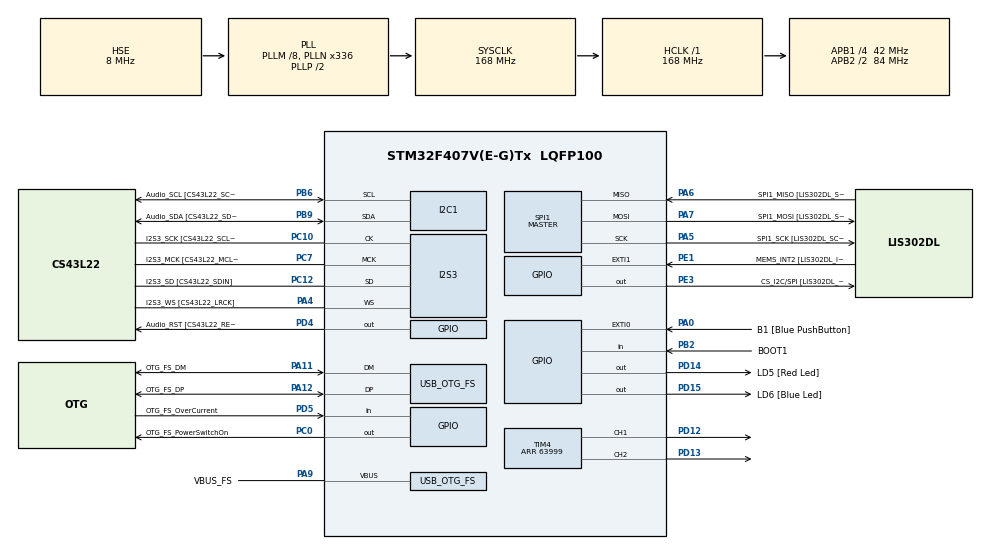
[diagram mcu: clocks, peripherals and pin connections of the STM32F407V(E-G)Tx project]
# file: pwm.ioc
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I2S3.AudioFreq-Half_Duplex_Master=I2S_AUDIOFREQ_96K
I2S3.ErrorAudioFreq=-2.34 %
I2S3.ErrorAudioFreq-Half_Duplex_Master=0.8 %
I2S3.FullDuplexMode=I2S_FULLDUPLEXMODE_DISABLE
I2S3.Instance=SPI$Index
I2S3.RealAudioFreq=93.75 KHz
I2S3.RealAudioFreq-Half_Duplex_Master=96.774 KHz
I2S3.VirtualMode=I2S_MODE_MASTER
Mcu.Family=STM32F4
Mcu.Name=STM32F407V(E-G)Tx
Mcu.Package=LQFP100
NVIC.OTG_FS_IRQn=true\:0\:0\:false\:false\:true\:true\:true\:true
NVIC.PriorityGroup=NVIC_PRIORITYGROUP_0
PA0-WKUP.GPIO_Label=B1 [Blue PushButton]
PA0-WKUP.GPIO_ModeDefaultEXTI=GPIO_MODE_EVT_RISING
PA0-WKUP.GPIO_PuPd=GPIO_NOPULL
PA0-WKUP.Signal=GPXTI0
PA10.GPIO_Label=OTG_FS_ID
PA10.GPIO_Mode=GPIO_MODE_AF_PP
PA10.GPIO_PuPd=GPIO_NOPULL
PA10.GPIO_Speed=GPIO_SPEED_FREQ_LOW
PA10.Signal=USB_OTG_FS_ID
PA11.GPIO_Label=OTG_FS_DM
PA11.GPIO_Mode=GPIO_MODE_AF_PP
PA11.GPIO_PuPd=GPIO_NOPULL
PA11.GPIO_Speed=GPIO_SPEED_FREQ_LOW
PA11.Mode=Host_Only
PA11.Signal=USB_OTG_FS_DM
PA12.GPIO_Label=OTG_FS_DP
PA12.GPIO_Mode=GPIO_MODE_AF_PP
PA12.GPIO_PuPd=GPIO_NOPULL
PA12.GPIO_Speed=GPIO_SPEED_FREQ_LOW
PA12.Mode=Host_Only
PA12.Signal=USB_OTG_FS_DP
PA13.GPIO_Label=SWDIO
PA13.Mode=Serial_Wire
PA13.Signal=SYS_JTMS-SWDIO
PA14.GPIO_Label=SWCLK
PA14.Mode=Serial_Wire
PA14.Signal=SYS_JTCK-SWCLK
PA4.GPIO_Label=I2S3_WS [CS43L22_LRCK]
PA4.GPIO_Mode=GPIO_MODE_AF_PP
PA4.GPIO_PuPd=GPIO_NOPULL
PA4.GPIO_Speed=GPIO_SPEED_FREQ_LOW
PA4.Mode=Half_Duplex_Master
PA4.Signal=I2S3_WS
PA5.GPIO_Label=SPI1_SCK [LIS302DL_SCL/SPC]
PA5.GPIO_Mode=GPIO_MODE_AF_PP
PA5.GPIO_PuPd=GPIO_NOPULL
PA5.GPIO_Speed=GPIO_SPEED_FREQ_LOW
PA5.Mode=Full_Duplex_Master
PA5.Signal=SPI1_SCK
PA6.GPIO_Label=SPI1_MISO [LIS302DL_SDO]
PA6.GPIO_Mode=GPIO_MODE_AF_PP
PA6.GPIO_PuPd=GPIO_NOPULL
PA6.GPIO_Speed=GPIO_SPEED_FREQ_LOW
PA6.Mode=Full_Duplex_Master
PA6.Signal=SPI1_MISO
PA7.GPIO_Label=SPI1_MOSI [LIS302DL_SDA/SDI/SDO]
PA7.GPIO_Mode=GPIO_MODE_AF_PP
PA7.GPIO_PuPd=GPIO_NOPULL
PA7.GPIO_Speed=GPIO_SPEED_FREQ_LOW
PA7.Mode=Full_Duplex_Master
PA7.Signal=SPI1_MOSI
PA9.GPIO_Label=VBUS_FS
PA9.GPIO_Mode=GPIO_MODE_INPUT
PA9.GPIO_PuPd=GPIO_NOPULL
PA9.Mode=Activate_VBUS
PA9.Signal=USB_OTG_FS_VBUS
PB10.GPIO_Label=CLK_IN [MP45DT02_CLK]
PB10.GPIO_Mode=GPIO_MODE_AF_PP
PB10.GPIO_PuPd=GPIO_NOPULL
PB10.GPIO_Speed=GPIO_SPEED_FREQ_LOW
PB10.Signal=I2S2_CK
PB2.GPIO_Label=BOOT1
PB2.GPIO_Mode=GPIO_MODE_INPUT
PB2.GPIO_PuPd=GPIO_NOPULL
PB2.Signal=GPIO_Input
PB3.GPIO_Label=SWO
PB3.Signal=SYS_JTDO-SWO
PB6.GPIO_Label=Audio_SCL [CS43L22_SCL]
PB6.GPIO_Mode=GPIO_MODE_AF_OD
PB6.GPIO_Pu=GPIO_PULLUP
PB6.GPIO_PuPd=GPIO_NOPULL
PB6.GPIO_Speed=GPIO_SPEED_FREQ_LOW
PB6.Mode=I2C
PB6.Signal=I2C1_SCL
PB9.GPIO_Label=Audio_SDA [CS43L22_SDA]
PB9.GPIO_Mode=GPIO_MODE_AF_OD
PB9.GPIO_Pu=GPIO_PULLUP
PB9.GPIO_PuPd=GPIO_NOPULL
PB9.GPIO_Speed=GPIO_SPEED_FREQ_LOW
PB9.Mode=I2C
PB9.Signal=I2C1_SDA
PC0.GPIO_Label=OTG_FS_PowerSwitchOn
PC0.GPIO_PuPd=GPIO_NOPULL
PC0.GPIO_Speed=GPIO_SPEED_FREQ_LOW
PC0.PinState=GPIO_PIN_SET
PC0.Signal=GPIO_Output
PC10.GPIO_Label=I2S3_SCK [CS43L22_SCLK]
PC10.GPIO_Mode=GPIO_MODE_AF_PP
PC10.GPIO_PuPd=GPIO_NOPULL
PC10.GPIO_Speed=GPIO_SPEED_FREQ_LOW
PC10.Mode=Half_Duplex_Master
PC10.Signal=I2S3_CK
PC12.GPIO_Label=I2S3_SD [CS43L22_SDIN]
PC12.GPIO_Mode=GPIO_MODE_AF_PP
PC12.GPIO_PuPd=GPIO_NOPULL
PC12.GPIO_Speed=GPIO_SPEED_FREQ_LOW
PC12.Mode=Half_Duplex_Master
PC12.Signal=I2S3_SD
PC14-OSC32_IN.GPIO_Label=PC14-OSC32_IN
PC14-OSC32_IN.Mode=LSE-External-Oscillator
PC14-OSC32_IN.Signal=RCC_OSC32_IN
PC15-OSC32_OUT.GPIO_Label=PC15-OSC32_OUT
PC15-OSC32_OUT.Mode=LSE-External-Oscillator
PC15-OSC32_OUT.Signal=RCC_OSC32_OUT
PC3.GPIO_Label=PDM_OUT [MP45DT02_DOUT]
PC3.GPIO_Mode=GPIO_MODE_AF_PP
PC3.GPIO_PuPd=GPIO_NOPULL
PC3.GPIO_Speed=GPIO_SPEED_FREQ_LOW
PC3.Signal=I2S2_SD
PC7.GPIO_Label=I2S3_MCK [CS43L22_MCLK]
PC7.GPIO_Mode=GPIO_MODE_AF_PP
PC7.GPIO_PuPd=GPIO_NOPULL
PC7.GPIO_Speed=GPIO_SPEED_FREQ_LOW
PC7.Mode=Master_Clock_Activated
PC7.Signal=I2S3_MCK
PD12.Signal=S_TIM4_CH1
PD13.Signal=S_TIM4_CH2
PD14.GPIO_Label=LD5 [Red Led]
PD14.GPIO_PuPd=GPIO_NOPULL
PD14.GPIO_Speed=GPIO_SPEED_FREQ_LOW
PD14.Signal=GPIO_Output
PD15.GPIO_Label=LD6 [Blue Led]
PD15.GPIO_PuPd=GPIO_NOPULL
PD15.GPIO_Speed=GPIO_SPEED_FREQ_LOW
PD15.Signal=GPIO_Output
PD4.GPIO_Label=Audio_RST [CS43L22_RESET]
PD4.GPIO_PuPd=GPIO_NOPULL
PD4.GPIO_Speed=GPIO_SPEED_FREQ_LOW
PD4.Signal=GPIO_Output
PD5.GPIO_Label=OTG_FS_OverCurrent
PD5.GPIO_Mode=GPIO_MODE_INPUT
PD5.GPIO_PuPd=GPIO_NOPULL
PD5.Signal=GPIO_Input
PE1.GPIO_Label=MEMS_INT2 [LIS302DL_INT2]
PE1.GPIO_ModeDefaultEXTI=GPIO_MODE_EVT_RISING
PE1.GPIO_PuPd=GPIO_NOPULL
PE1.Signal=GPXTI1
PE3.GPIO_Label=CS_I2C/SPI [LIS302DL_CS_I2C/SPI]
PE3.GPIO_PuPd=GPIO_NOPULL
PE3.GPIO_Speed=GPIO_SPEED_FREQ_LOW
PE3.Signal=GPIO_Output
PH0-OSC_IN.GPIO_Label=PH0-OSC_IN
PH0-OSC_IN.Mode=HSE-External-Oscillator
PH0-OSC_IN.Signal=RCC_OSC_IN
PH1-OSC_OUT.GPIO_Label=PH1-OSC_OUT
PH1-OSC_OUT.Mode=HSE-External-Oscillator
PH1-OSC_OUT.Signal=RCC_OSC_OUT
ProjectManager.HeapSize=0x200
ProjectManager.StackSize=0x400
ProjectManager.TargetToolchain=STM32CubeIDE
RCC.48MHZClocksFreq_Value=48000000
RCC.AHBFreq_Value=168000000
RCC.APB1CLKDivider=RCC_HCLK_DIV4
RCC.APB1Freq_Value=42000000
RCC.APB1TimFreq_Value=84000000
RCC.APB2CLKDivider=RCC_HCLK_DIV2
RCC.APB2Freq_Value=84000000
RCC.APB2TimFreq_Value=168000000
RCC.CortexFreq_Value=168000000
RCC.HCLKFreq_Value=168000000
RCC.HSE_VALUE=8000000
RCC.HSI_VALUE=16000000
RCC.PLLM=8
RCC.PLLN=336
RCC.PLLQ=7
RCC.SYSCLKFreq_VALUE=168000000
RCC.SYSCLKSource=RCC_SYSCLKSOURCE_PLLCLK
RCC.VCOOutputFreq_Value=336000000
SH.S_TIM4_CH1.0=TIM4_CH1,PWM Generation1 CH1
SH.S_TIM4_CH2.0=TIM4_CH2,PWM Generation2 CH2
SPI1.BaudRatePrescaler-Full_Duplex_Master=SPI_BAUDRATEPRESCALER_2
SPI1.CalculateBaudRate-Full_Duplex_Master=42.0 MBits/s
SPI1.Direction=SPI_DIRECTION_2LINES
SPI1.Mode=SPI_MODE_MASTER
SPI1.Mode-Full_Duplex_Master=SPI_MODE_MASTER
SPI1.VirtualType=VM_MASTER
TIM4.Channel-PWM\ Generation1\ CH1=TIM_CHANNEL_1
TIM4.Channel-PWM\ Generation2\ CH2=TIM_CHANNEL_2
TIM4.Period=63999
USB_HOST.BSP.number=1
USB_HOST.USBH_HandleTypeDef-CDC_FS=hUsbHostFS
USB_HOST.VirtualModeFS=Cdc
USB_HOST0.BSP.STBoard=false
USB_HOST0.BSP.api=Unknown
USB_HOST0.BSP.instance=PC0
USB_HOST0.BSP.ip=GPIO
USB_HOST0.BSP.mode=Output
USB_HOST0.BSP.name=Drive_VBUS_FS
USB_HOST0.BSP.solution=PC0
USB_OTG_FS.VirtualMode=Host_Only
USB_OTG_FS.phy_itface=HCD_PHY_EMBEDDED
VP_TIM4_VS_ClockSourceINT.Mode=Internal
VP_USB_HOST_VS_USB_HOST_CDC_FS.Mode=CDC_FS
board=STM32F407G-DISC1

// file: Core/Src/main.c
/* USER CODE BEGIN Header */
/**
 ******************************************************************************
 * @file           : main.c
 * @brief          : Main program body
 ******************************************************************************
 * @attention
 *
 * Copyright (c) 2025 STMicroelectronics.
 * All rights reserved.
 *
 * This software is licensed under terms that can be found in the LICENSE file
 * in the root directory of this software component.
 * If no LICENSE file comes with this software, it is provided AS-IS.
 *
 ******************************************************************************
 */
/* USER CODE END Header */
#include "main.h"
#include "usb_host.h"

/* USER CODE BEGIN PD */

#define TENCENDIDO                                                             \
  2000 // Tiempo en ms que permanecen encendidas las luces al iniciar el sistema
#define TAPAGADO                                                               \
  1000 // Tiempo en ms que permanecen apagadas las luces antes iniciar las
       // transiciones
#define TCAMBIO                                                                \
  20 // Tiempo en ms entre cambios de los ciclos de trabajo de las señales PWM
// Al definir TCAMBIO como 20 ms, se obtiene una duración total de 2 segundos
// para una transición completa(100 × 20 ms = 2 s)
#define VALCAMBIO                                                              \
  640 // Valor (1% en LSB de resolución de PWM) para los cambios de los ciclos
      // de trabajo
// pues resolución configurada para las señales PWM es de 64 000
/* USER CODE END PD */

/* Private macro
   -------------------------------------------------------------*/

/* Private variables
   ---------------------------------------------------------*/
I2C_HandleTypeDef hi2c1;

I2S_HandleTypeDef hi2s3;

SPI_HandleTypeDef hspi1;

TIM_HandleTypeDef htim4;

void SystemClock_Config(void);
static void MX_GPIO_Init(void);
static void MX_I2C1_Init(void);
static void MX_I2S3_Init(void);
static void MX_SPI1_Init(void);
static void MX_TIM4_Init(void);
void MX_USB_HOST_Process(void);

/* USER CODE BEGIN PFP */
// ACA LOS PROTOTIPOS
void inicio(void);      // Prueba inicial del sistema
void transicion1(void); // Disminuye rojo, aumenta verde
void transicion2(void); // Disminuye verde, aumenta rojo

/* USER CODE END PFP */

int main(void) {

  /* MCU Configuration--------------------------------------------------------*/

  /* Reset of all peripherals, Initializes the Flash interface and the Systick.
   */
  HAL_Init();

  /* Configure the system clock */
  SystemClock_Config();

  /* Initialize all configured peripherals */
  MX_GPIO_Init();
  MX_I2C1_Init();
  MX_I2S3_Init();
  MX_SPI1_Init();
  MX_USB_HOST_Init();
  MX_TIM4_Init();
  /* USER CODE BEGIN 2 */
  // CONDICIONES INICIALES
  inicio(); // Prueba inicial del sistema

  /* USER CODE END 2 */

  /* Infinite loop */
  while (1) {
    MX_USB_HOST_Process();

    /* USER CODE BEGIN 3 */
    transicion1(); //  gradualmente disminuye rojo, aumenta verde
    transicion2(); //  gradualmente disminuye verde, aumenta rojo
  }
  /* USER CODE END 3 */
}

void SystemClock_Config(void) {
  RCC_OscInitTypeDef RCC_OscInitStruct = {0};
  RCC_ClkInitTypeDef RCC_ClkInitStruct = {0};

  /** Configure the main internal regulator output voltage
   */
  __HAL_RCC_PWR_CLK_ENABLE();
  __HAL_PWR_VOLTAGESCALING_CONFIG(PWR_REGULATOR_VOLTAGE_SCALE1);

  /** Initializes the RCC Oscillators according to the specified parameters
   * in the RCC_OscInitTypeDef structure.
   */
  RCC_OscInitStruct.OscillatorType = RCC_OSCILLATORTYPE_HSE;
  RCC_OscInitStruct.HSEState = RCC_HSE_ON;
  RCC_OscInitStruct.PLL.PLLState = RCC_PLL_ON;
  RCC_OscInitStruct.PLL.PLLSource = RCC_PLLSOURCE_HSE;
  RCC_OscInitStruct.PLL.PLLM = 8;
  RCC_OscInitStruct.PLL.PLLN = 336;
  RCC_OscInitStruct.PLL.PLLP = RCC_PLLP_DIV2;
  RCC_OscInitStruct.PLL.PLLQ = 7;
  if (HAL_RCC_OscConfig(&RCC_OscInitStruct) != HAL_OK) {
    Error_Handler();
  }

  /** Initializes the CPU, AHB and APB buses clocks
   */
  RCC_ClkInitStruct.ClockType = RCC_CLOCKTYPE_HCLK | RCC_CLOCKTYPE_SYSCLK |
                                RCC_CLOCKTYPE_PCLK1 | RCC_CLOCKTYPE_PCLK2;
  RCC_ClkInitStruct.SYSCLKSource = RCC_SYSCLKSOURCE_PLLCLK;
  RCC_ClkInitStruct.AHBCLKDivider = RCC_SYSCLK_DIV1;
  RCC_ClkInitStruct.APB1CLKDivider = RCC_HCLK_DIV4;
  RCC_ClkInitStruct.APB2CLKDivider = RCC_HCLK_DIV2;

  if (HAL_RCC_ClockConfig(&RCC_ClkInitStruct, FLASH_LATENCY_5) != HAL_OK) {
    Error_Handler();
  }
}

static void MX_I2C1_Init(void) {

  hi2c1.Instance = I2C1;
  hi2c1.Init.ClockSpeed = 100000;
  hi2c1.Init.DutyCycle = I2C_DUTYCYCLE_2;
  hi2c1.Init.OwnAddress1 = 0;
  hi2c1.Init.AddressingMode = I2C_ADDRESSINGMODE_7BIT;
  hi2c1.Init.DualAddressMode = I2C_DUALADDRESS_DISABLE;
  hi2c1.Init.OwnAddress2 = 0;
  hi2c1.Init.GeneralCallMode = I2C_GENERALCALL_DISABLE;
  hi2c1.Init.NoStretchMode = I2C_NOSTRETCH_DISABLE;
  if (HAL_I2C_Init(&hi2c1) != HAL_OK) {
    Error_Handler();
  }
}

static void MX_I2S3_Init(void) {

  hi2s3.Instance = SPI3;
  hi2s3.Init.Mode = I2S_MODE_MASTER_TX;
  hi2s3.Init.Standard = I2S_STANDARD_PHILIPS;
  hi2s3.Init.DataFormat = I2S_DATAFORMAT_16B;
  hi2s3.Init.MCLKOutput = I2S_MCLKOUTPUT_ENABLE;
  hi2s3.Init.AudioFreq = I2S_AUDIOFREQ_96K;
  hi2s3.Init.CPOL = I2S_CPOL_LOW;
  hi2s3.Init.ClockSource = I2S_CLOCK_PLL;
  hi2s3.Init.FullDuplexMode = I2S_FULLDUPLEXMODE_DISABLE;
  if (HAL_I2S_Init(&hi2s3) != HAL_OK) {
    Error_Handler();
  }
}

static void MX_SPI1_Init(void) {

  /* SPI1 parameter configuration*/
  hspi1.Instance = SPI1;
  hspi1.Init.Mode = SPI_MODE_MASTER;
  hspi1.Init.Direction = SPI_DIRECTION_2LINES;
  hspi1.Init.DataSize = SPI_DATASIZE_8BIT;
  hspi1.Init.CLKPolarity = SPI_POLARITY_LOW;
  hspi1.Init.CLKPhase = SPI_PHASE_1EDGE;
  hspi1.Init.NSS = SPI_NSS_SOFT;
  hspi1.Init.BaudRatePrescaler = SPI_BAUDRATEPRESCALER_2;
  hspi1.Init.FirstBit = SPI_FIRSTBIT_MSB;
  hspi1.Init.TIMode = SPI_TIMODE_DISABLE;
  hspi1.Init.CRCCalculation = SPI_CRCCALCULATION_DISABLE;
  hspi1.Init.CRCPolynomial = 10;
  if (HAL_SPI_Init(&hspi1) != HAL_OK) {
    Error_Handler();
  }
}

static void MX_TIM4_Init(void) {

  TIM_ClockConfigTypeDef sClockSourceConfig = {0};
  TIM_MasterConfigTypeDef sMasterConfig = {0};
  TIM_OC_InitTypeDef sConfigOC = {0};

  htim4.Instance = TIM4;
  htim4.Init.Prescaler = 0;
  htim4.Init.CounterMode = TIM_COUNTERMODE_UP;
  htim4.Init.Period = 63999;
  htim4.Init.ClockDivision = TIM_CLOCKDIVISION_DIV1;
  htim4.Init.AutoReloadPreload = TIM_AUTORELOAD_PRELOAD_DISABLE;
  if (HAL_TIM_Base_Init(&htim4) != HAL_OK) {
    Error_Handler();
  }
  sClockSourceConfig.ClockSource = TIM_CLOCKSOURCE_INTERNAL;
  if (HAL_TIM_ConfigClockSource(&htim4, &sClockSourceConfig) != HAL_OK) {
    Error_Handler();
  }
  if (HAL_TIM_PWM_Init(&htim4) != HAL_OK) {
    Error_Handler();
  }
  sMasterConfig.MasterOutputTrigger = TIM_TRGO_RESET;
  sMasterConfig.MasterSlaveMode = TIM_MASTERSLAVEMODE_DISABLE;
  if (HAL_TIMEx_MasterConfigSynchronization(&htim4, &sMasterConfig) != HAL_OK) {
    Error_Handler();
  }
  sConfigOC.OCMode = TIM_OCMODE_PWM1;
  sConfigOC.Pulse = 0;
  sConfigOC.OCPolarity = TIM_OCPOLARITY_HIGH;
  sConfigOC.OCFastMode = TIM_OCFAST_DISABLE;
  if (HAL_TIM_PWM_ConfigChannel(&htim4, &sConfigOC, TIM_CHANNEL_1) != HAL_OK) {
    Error_Handler();
  }
  if (HAL_TIM_PWM_ConfigChannel(&htim4, &sConfigOC, TIM_CHANNEL_2) != HAL_OK) {
    Error_Handler();
  }
  HAL_TIM_MspPostInit(&htim4);
}

static void MX_GPIO_Init(void) {
  GPIO_InitTypeDef GPIO_InitStruct = {0};

  /* GPIO Ports Clock Enable */
  __HAL_RCC_GPIOE_CLK_ENABLE();
  __HAL_RCC_GPIOC_CLK_ENABLE();
  __HAL_RCC_GPIOH_CLK_ENABLE();
  __HAL_RCC_GPIOA_CLK_ENABLE();
  __HAL_RCC_GPIOB_CLK_ENABLE();
  __HAL_RCC_GPIOD_CLK_ENABLE();

  /*Configure GPIO pin Output Level */
  HAL_GPIO_WritePin(CS_I2C_SPI_GPIO_Port, CS_I2C_SPI_Pin, GPIO_PIN_RESET);

  /*Configure GPIO pin Output Level */
  HAL_GPIO_WritePin(OTG_FS_PowerSwitchOn_GPIO_Port, OTG_FS_PowerSwitchOn_Pin,
                    GPIO_PIN_SET);

  /*Configure GPIO pin Output Level */
  HAL_GPIO_WritePin(GPIOD, LD5_Pin | LD6_Pin | Audio_RST_Pin, GPIO_PIN_RESET);

  /*Configure GPIO pin : CS_I2C_SPI_Pin */
  GPIO_InitStruct.Pin = CS_I2C_SPI_Pin;
  GPIO_InitStruct.Mode = GPIO_MODE_OUTPUT_PP;
  GPIO_InitStruct.Pull = GPIO_NOPULL;
  GPIO_InitStruct.Speed = GPIO_SPEED_FREQ_LOW;
  HAL_GPIO_Init(CS_I2C_SPI_GPIO_Port, &GPIO_InitStruct);

  /*Configure GPIO pin : OTG_FS_PowerSwitchOn_Pin */
  GPIO_InitStruct.Pin = OTG_FS_PowerSwitchOn_Pin;
  GPIO_InitStruct.Mode = GPIO_MODE_OUTPUT_PP;
  GPIO_InitStruct.Pull = GPIO_NOPULL;
  GPIO_InitStruct.Speed = GPIO_SPEED_FREQ_LOW;
  HAL_GPIO_Init(OTG_FS_PowerSwitchOn_GPIO_Port, &GPIO_InitStruct);

  /*Configure GPIO pin : PDM_OUT_Pin */
  GPIO_InitStruct.Pin = PDM_OUT_Pin;
  GPIO_InitStruct.Mode = GPIO_MODE_AF_PP;
  GPIO_InitStruct.Pull = GPIO_NOPULL;
  GPIO_InitStruct.Speed = GPIO_SPEED_FREQ_LOW;
  GPIO_InitStruct.Alternate = GPIO_AF5_SPI2;
  HAL_GPIO_Init(PDM_OUT_GPIO_Port, &GPIO_InitStruct);

  /*Configure GPIO pin : B1_Pin */
  GPIO_InitStruct.Pin = B1_Pin;
  GPIO_InitStruct.Mode = GPIO_MODE_EVT_RISING;
  GPIO_InitStruct.Pull = GPIO_NOPULL;
  HAL_GPIO_Init(B1_GPIO_Port, &GPIO_InitStruct);

  /*Configure GPIO pin : BOOT1_Pin */
  GPIO_InitStruct.Pin = BOOT1_Pin;
  GPIO_InitStruct.Mode = GPIO_MODE_INPUT;
  GPIO_InitStruct.Pull = GPIO_NOPULL;
  HAL_GPIO_Init(BOOT1_GPIO_Port, &GPIO_InitStruct);

  /*Configure GPIO pin : CLK_IN_Pin */
  GPIO_InitStruct.Pin = CLK_IN_Pin;
  GPIO_InitStruct.Mode = GPIO_MODE_AF_PP;
  GPIO_InitStruct.Pull = GPIO_NOPULL;
  GPIO_InitStruct.Speed = GPIO_SPEED_FREQ_LOW;
  GPIO_InitStruct.Alternate = GPIO_AF5_SPI2;
  HAL_GPIO_Init(CLK_IN_GPIO_Port, &GPIO_InitStruct);

  /*Configure GPIO pins : LD5_Pin LD6_Pin Audio_RST_Pin */
  GPIO_InitStruct.Pin = LD5_Pin | LD6_Pin | Audio_RST_Pin;
  GPIO_InitStruct.Mode = GPIO_MODE_OUTPUT_PP;
  GPIO_InitStruct.Pull = GPIO_NOPULL;
  GPIO_InitStruct.Speed = GPIO_SPEED_FREQ_LOW;
  HAL_GPIO_Init(GPIOD, &GPIO_InitStruct);

  /*Configure GPIO pin : OTG_FS_OverCurrent_Pin */
  GPIO_InitStruct.Pin = OTG_FS_OverCurrent_Pin;
  GPIO_InitStruct.Mode = GPIO_MODE_INPUT;
  GPIO_InitStruct.Pull = GPIO_NOPULL;
  HAL_GPIO_Init(OTG_FS_OverCurrent_GPIO_Port, &GPIO_InitStruct);

  /*Configure GPIO pin : MEMS_INT2_Pin */
  GPIO_InitStruct.Pin = MEMS_INT2_Pin;
  GPIO_InitStruct.Mode = GPIO_MODE_EVT_RISING;
  GPIO_InitStruct.Pull = GPIO_NOPULL;
  HAL_GPIO_Init(MEMS_INT2_GPIO_Port, &GPIO_InitStruct);

}

/* USER CODE BEGIN 4 */
// ACA LAS FUNCIONEEEES
// Prueba inicial del sistema
void inicio(void) {
  // Obtenemos el valor máximo de ciclo de trabajo de la configuración del hw
  uint16_t ciclomaximo = TIM4->ARR; // Valor máximo de ciclo de trabajo
  // Configuramos el PWM para que inicie con los LED encendidos
  TIM4->CCR1 = ciclomaximo; // LED verde al 100 %
  TIM4->CCR2 = ciclomaximo; // LED rojo al 100 %
  // Arrancamos el PWM
  HAL_TIM_PWM_Start(&htim4,
                    TIM_CHANNEL_1); // Inicio de la modulación PWM, LED verde
  HAL_TIM_PWM_Start(&htim4,
                    TIM_CHANNEL_2); // Inicio de la modulación PWM, LED rojo
  // Mantenemos los LED encendidos por un tiempo
  HAL_Delay(TENCENDIDO); // Retardo de TENCENDIDO milisegundos
  // Apagamos los LED
  TIM4->CCR1 = 0; // LED verde al 0 %
  TIM4->CCR2 = 0; // LED rojo al 0 %
  // Mantenemos los LED apagados por un tiempo
  HAL_Delay(TAPAGADO); // Retardo de TAPAGADO milisegundos
  // Encendemos el LED rojo
  TIM4->CCR2 = ciclomaximo; // LED rojo al 100 %
}

/*-------------  transición 1 -------------*/
// Disminuye rojo, aumenta verde
void transicion1(void) {
  // Obtenemos valores de la configuración del hgardware
  uint16_t ciclomaximo = TIM4->ARR; // Valor máximo de ciclo de trabajo
  uint16_t cicloverde =
      TIM4->CCR1; // Valor actual de ciclo de trabajo en LED verde
  uint16_t ciclorojo =
      TIM4->CCR2; // Valor actual de ciclo de trabajo en LED rojo
  do {
    // Esperamos un tiempo antes de cambiar las intencidades de lso LED
    HAL_Delay(TCAMBIO); // Espera por TCAMBIO milisegndos
    // Disminuimos un poco la intensidad del LED rojo
    ciclorojo = (ciclorojo > VALCAMBIO) ? ciclorojo - VALCAMBIO
                                        : 0; // Decremento con saturación en 0 %
    TIM4->CCR2 = ciclorojo; // Actualiza el ciclo de trabajo en LED rojo
    // Aumentaqmos un poco la intensidad del LED verde
    cicloverde = (ciclomaximo - cicloverde > VALCAMBIO)
                     ? cicloverde + VALCAMBIO
                     : ciclomaximo; // Incremento con saturación en 100 %
    TIM4->CCR1 = cicloverde; // Actualiza el ciclo de trabajo en LED verde
    // Verficamos si repetimos o invertimos
  } while (ciclorojo > 0 &&
           cicloverde <
               ciclomaximo); // Repetimos mientras no se alcance un límite
}

/*-------------  transición 2 -------------*/
// Disminuye verde, aumenta rojo
void transicion2(void) {
  // Obtenemos valores de la configuración del hgardware
  uint16_t ciclomaximo = TIM4->ARR; // Valor máximo de ciclo de trabajo
  uint16_t cicloverde =
      TIM4->CCR1; // Valor actual de ciclo de trabajo en LED verde
  uint16_t ciclorojo =
      TIM4->CCR2; // Valor actual de ciclo de trabajo en LED rojo
  do {
    // Esperamos un tiempo antes de cambiar las intensidades de los LED
    HAL_Delay(TCAMBIO); // Espera por TCAMBIO milisegundos
    // Disminuimos un poco la intensidad del LED verde
    cicloverde = (cicloverde > VALCAMBIO)
                     ? cicloverde - VALCAMBIO
                     : 0;    // Decremento con saturación en 0 %
    TIM4->CCR1 = cicloverde; // Actualiza el ciclo de trabajo en LED rojo
    // Aumentaqmos un poco la intensidad del LED rojo
    ciclorojo = (ciclomaximo - ciclorojo > VALCAMBIO)
                    ? ciclorojo + VALCAMBIO
                    : ciclomaximo; // Incremento con saturación en 100 %
    TIM4->CCR2 = ciclorojo;        // Actualiza el ciclo de trabajo en LED rojo
    // Verficamos si repetimos o invertimos
  } while (cicloverde > 0 &&
           ciclorojo <
               ciclomaximo); // Repetimos mientras no se alcance un límite
}

/* USER CODE END 4 */

void Error_Handler(void) {
  __disable_irq();
  while (1) {
  }
}

#ifdef USE_FULL_ASSERT
/**
 * @brief  Reports the name of the source file and the source line number
 *         where the assert_param error has occurred.
 * @param  file: pointer to the source file name
 * @param  line: assert_param error line source number
 * @retval None
 */
void assert_failed(uint8_t *file, uint32_t line) {
  /* USER CODE BEGIN 6 */
  /* User can add his own implementation to report the file name and line
     number, ex: printf("Wrong parameters value: file %s on line %d\r\n", file,
     line) */
  /* USER CODE END 6 */
}
#endif /* USE_FULL_ASSERT */
